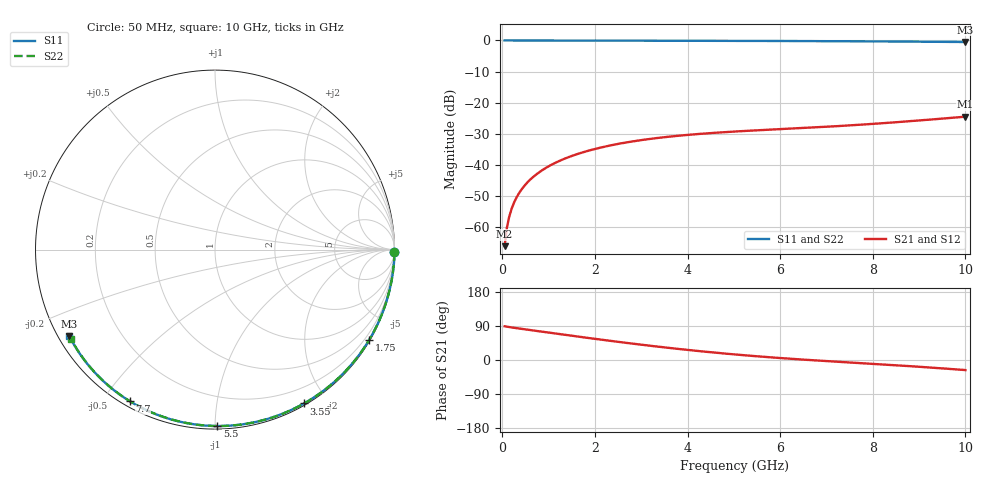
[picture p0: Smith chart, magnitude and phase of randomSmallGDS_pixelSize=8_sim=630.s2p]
! freq	dB(S11)	phase(S11)	dB(S12)	phase(S12)
!  dB(S21)	phase(S21)	dB(S22)	phase(S22)
!S-par simulation data
#  GHz  S  DB  R 50
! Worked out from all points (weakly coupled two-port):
!   200 points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, 50 MHz to 10 GHz, reference 50 ohm
!   highest |S21| = -24.55 dB at 10 GHz (marker M1); lowest = -66.2 dB at 50 MHz (marker M2)
!   lowest |S11| = -0.5 dB at 10 GHz (marker M3), VSWR 34.82, Z = 1.54 - j13.8 ohm
!   |S11| at or under -10 dB: nowhere
!   |S22| runs from -0.5 to 0.0 dB; largest |S21 - S12| = 0
!   S11 on the Smith chart (normalised r, x): 50 MHz: open; 1.75 GHz: 0.03, -3.68; 3.55 GHz: 0.02, -1.73; 5.5 GHz: 0.02, -1.01; 7.7 GHz: 0.02, -0.58; 10 GHz: 0.03, -0.28
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0.05  -0.00 -0.9  -66.22 88.9  -66.22 88.9  -0.00 -0.9
0.1  -0.00 -1.8  -60.22 87.9  -60.22 87.9  -0.00 -1.8
0.15  -0.00 -2.7  -56.72 86.9  -56.72 86.9  -0.00 -2.6
0.2  -0.00 -3.5  -54.24 85.9  -54.24 85.9  -0.00 -3.5
0.25  -0.00 -4.4  -52.33 85.0  -52.33 85.0  -0.00 -4.4
0.35  -0.00 -6.2  -49.44 83.3  -49.44 83.3  -0.00 -6.1
0.5  -0.01 -8.8  -46.39 80.8  -46.39 80.8  -0.01 -8.7
0.7  -0.01 -12.3  -43.53 77.4  -43.53 77.4  -0.01 -12.2
1  -0.02 -17.5  -40.52 72.3  -40.52 72.3  -0.02 -17.4
1.35  -0.03 -23.6  -38.04 66.5  -38.04 66.5  -0.03 -23.4
1.75  -0.04 -30.4  -35.96 59.9  -35.96 59.9  -0.04 -30.1
2.5  -0.06 -43.0  -33.31 47.9  -33.31 47.9  -0.06 -42.6
3.4  -0.08 -57.6  -31.31 34.7  -31.31 34.7  -0.08 -57.1
3.55  -0.08 -59.9  -31.06 32.6  -31.06 32.6  -0.08 -59.4
4.3  -0.10 -71.6  -30.04 22.9  -30.04 22.9  -0.10 -71.0
5.05  -0.13 -82.7  -29.29 14.4  -29.29 14.4  -0.13 -82.1
5.5  -0.15 -89.3  -28.92 9.8  -28.92 9.8  -0.15 -88.6
6.7  -0.21 -106.0  -28.02 -0.6  -28.02 -0.6  -0.21 -105.2
7.7  -0.27 -119.4  -27.16 -8.0  -27.16 -8.0  -0.27 -118.5
8.35  -0.33 -127.9  -26.49 -12.7  -26.49 -12.7  -0.32 -127.0
9.2  -0.41 -138.9  -25.52 -19.5  -25.52 -19.5  -0.41 -137.9
10  -0.50 -149.2  -24.55 -26.6  -24.55 -26.6  -0.50 -148.2
